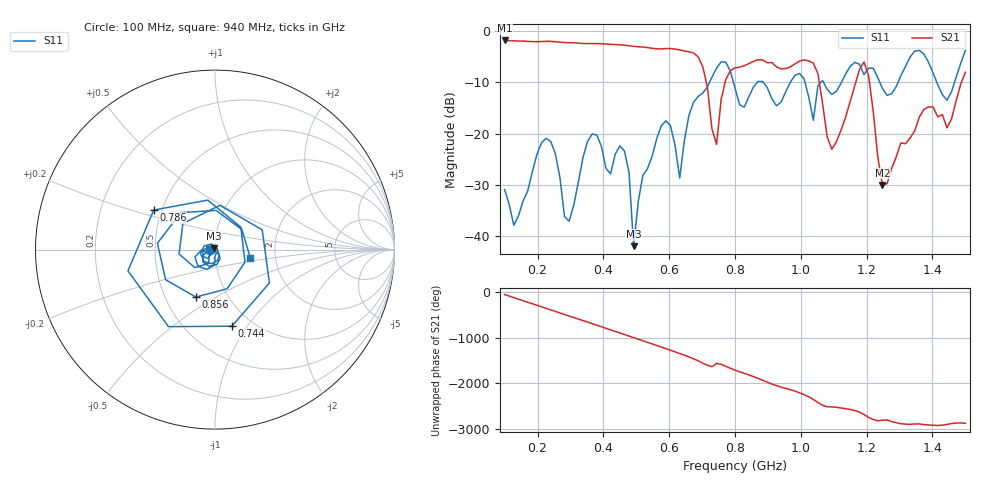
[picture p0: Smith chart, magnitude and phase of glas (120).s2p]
! NanoVNA-App
! Date: 2025-09-25 15:56:24
! Start: 100MHz Stop: 1,5GHz Points: 101
! S-Parameter data: F S11 S21 S12 S22
# Hz S RI R 50
!  Frequency  S11_Real  S11_Imag  S21_Real  S21_Imag  S12_Real  S12_Imag  S22_Real  S22_Imag
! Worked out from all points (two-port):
!   101 points, 100 MHz to 1.5 GHz, reference 50 ohm
!   highest |S21| = -1.80 dB at 100 MHz (marker M1); lowest = -30.0 dB at 1.248 GHz (marker M2)
!   |S21| within 3 dB of the highest: start of sweep to 684.3 MHz
!   lowest |S11| = -42.0 dB at 492 MHz (marker M3), VSWR 1.02, Z = 49.5 + j0.625 ohm
!   |S11| at or under -10 dB: start of sweep to 722.5 MHz; 795.3 MHz to 867.8 MHz (72.5 MHz wide, 8.72 % of centre); 886.1 MHz to 967.9 MHz (81.84 MHz wide, 8.83 % of centre) (the widest 3 of 7)
!   S12 and S22 are empty: the file has one direction only
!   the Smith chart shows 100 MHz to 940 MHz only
!   S11 on the Smith chart (normalised r, x): 100 MHz: 0.95, -0.01; 744 MHz: 0.81, -0.85; 786 MHz: 0.45, +0.24; 856 MHz: 0.71, -0.41; 940 MHz: 1.48, -0.15
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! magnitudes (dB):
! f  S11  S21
! 100 MHz  -31.0  -1.8
! 128 MHz  -37.9  -1.9
! 226 MHz  -20.9  -2.0
! 296 MHz  -37.1  -2.2
! 338 MHz  -24.7  -2.4
! 464 MHz  -23.4  -2.7
! 492 MHz  -42.0  -3.0
! 576 MHz  -18.5  -3.5
! 632 MHz  -28.7  -3.7
! 702 MHz  -12.1  -6.9
! 744 MHz  -7.2  -22.1
! 786 MHz  -7.8  -7.7
! 800 MHz  -11.1  -7.2
! 856 MHz  -10.9  -5.9
! 940 MHz  -13.8  -7.4
! 1.038 GHz  -17.4  -6.2
! 1.094 GHz  -12.4  -23.1
! 1.192 GHz  -8.5  -6.0
! 1.248 GHz  -11.2  -30.0
! 1.276 GHz  -12.2  -26.8
! 1.444 GHz  -13.5  -18.9
! 1.5 GHz  -3.7  -8.0
